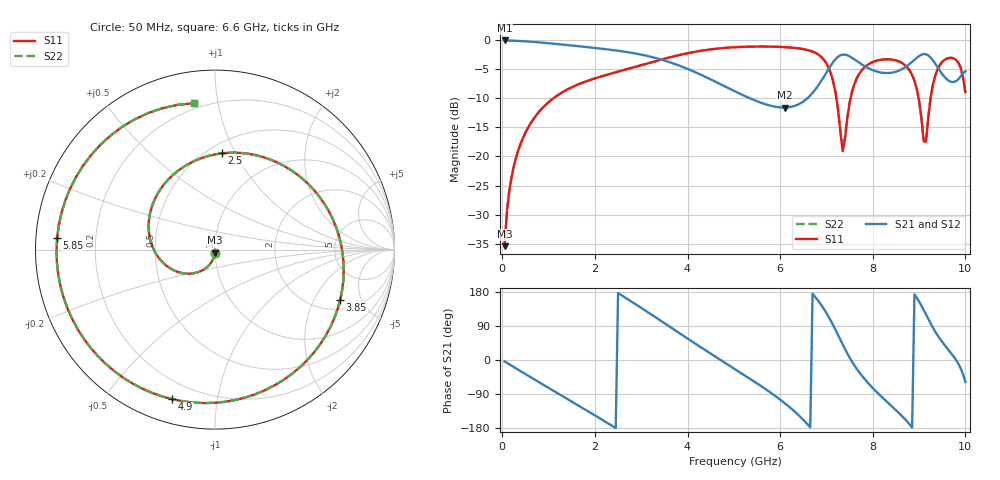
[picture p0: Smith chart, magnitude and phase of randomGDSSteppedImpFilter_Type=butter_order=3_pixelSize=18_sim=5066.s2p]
! freq	dB(S11)	phase(S11)	dB(S12)	phase(S12)
!  dB(S21)	phase(S21)	dB(S22)	phase(S22)
!S-par simulation data
#  GHz  S  DB  R 50
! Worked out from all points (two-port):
!   200 points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, 50 MHz to 10 GHz, reference 50 ohm
!   highest |S21| = -0.02 dB at 50 MHz (marker M1); lowest = -11.6 dB at 6.1 GHz (marker M2)
!   |S21| within 3 dB of the highest: start of sweep to 3.301 GHz; 7.224 GHz to 7.555 GHz (331.7 MHz wide, 4.49 % of centre) (the widest 2 of 3)
!   lowest |S11| = -35.4 dB at 50 MHz (marker M3), VSWR 1.03, Z = 50 - j1.69 ohm
!   |S11| at or under -10 dB: start of sweep to 1.1 GHz; 7.214 GHz to 7.52 GHz (306.2 MHz wide, 4.16 % of centre); 8.99 GHz to 9.248 GHz (257.7 MHz wide, 2.83 % of centre)
!   |S22| runs from -35.4 to -1.1 dB; largest |S21 - S12| = 0
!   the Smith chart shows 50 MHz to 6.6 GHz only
!   S11 on the Smith chart (normalised r, x): 50 MHz: 1.00, -0.03; 2.5 GHz: 0.59, +0.89; 3.85 GHz: 2.56, -3.30; 4.9 GHz: 0.11, -0.75; 5.85 GHz: 0.06, +0.04; 6.6 GHz: 0.17, +0.85
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0.05  -35.44 -89.4  -0.02 -3.8  -0.02 -3.8  -35.44 -89.4
0.5  -15.90 -127.5  -0.17 -37.2  -0.17 -37.2  -15.90 -127.5
1.75  -7.24 141.4  -1.10 -127.8  -1.10 -127.8  -7.24 141.6
2.5  -5.39 85.8  -1.79 176.5  -1.79 176.5  -5.39 86.0
3.4  -3.38 14.7  -3.24 105.4  -3.24 105.4  -3.38 14.9
3.85  -2.48 -21.9  -4.44 68.8  -4.44 68.8  -2.48 -21.8
4.9  -1.24 -105.9  -8.30 -14.5  -8.30 -14.5  -1.24 -105.8
5.05  -1.17 -117.7  -8.88 -26.2  -8.88 -26.2  -1.17 -117.7
5.85  -1.09 175.8  -11.36 -90.9  -11.36 -90.9  -1.09 175.7
6.1  -1.17 152.5  -11.57 -114.0  -11.57 -114.0  -1.17 152.4
6.6  -1.69 98.2  -9.89 -170.8  -9.89 -170.8  -1.68 98.2
6.7  -1.94 85.3  -9.05 175.1  -9.05 175.1  -1.94 85.4
7.2  -9.21 6.6  -3.20 78.5  -3.20 78.5  -9.15 7.6
7.35  -19.06 36.5  -2.46 41.0  -2.46 41.0  -18.51 36.7
7.5  -10.75 78.4  -2.76 6.3  -2.76 6.3  -10.68 77.1
7.85  -4.45 32.8  -4.56 -54.1  -4.56 -54.1  -4.44 32.4
8.35  -3.27 -23.6  -5.62 -115.2  -5.62 -115.2  -3.27 -23.5
8.95  -8.38 -91.1  -3.01 164.1  -3.01 164.1  -8.32 -90.2
9.1  -17.40 -76.3  -2.36 132.1  -2.36 132.1  -16.93 -75.1
9.25  -9.84 -14.2  -2.96 96.4  -2.96 96.4  -9.77 -15.6
9.7  -3.02 -71.9  -7.17 16.7  -7.17 16.7  -3.02 -72.3
10  -8.91 -91.3  -5.32 -58.2  -5.32 -58.2  -9.03 -91.8
